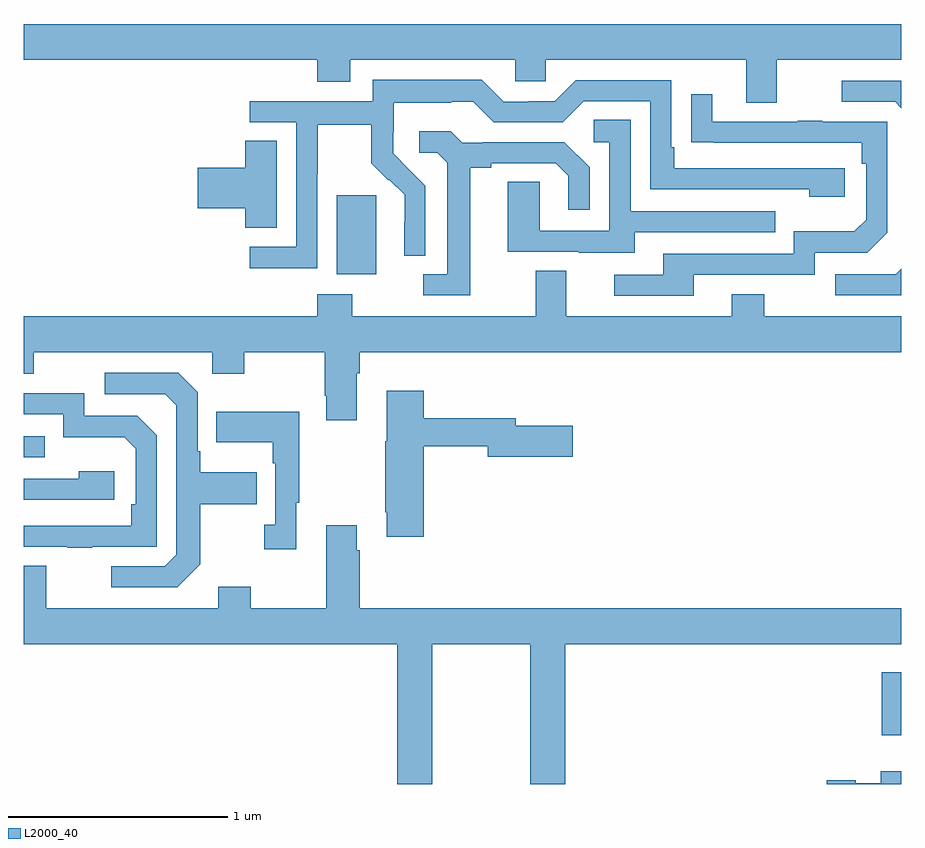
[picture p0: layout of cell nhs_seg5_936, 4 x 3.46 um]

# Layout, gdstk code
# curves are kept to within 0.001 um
import gdstk
lib = gdstk.Library(unit=1e-6, precision=1e-09)
def R(c, l, rs):  # rectangles x0, y0, x1, y1
    for r in rs: c.add(gdstk.rectangle(r[:2], r[2:], *l))
def P(c, l, *ps):  # polygons
    for p in ps: c.add(gdstk.Polygon(p, *l))
L2000_40 = (2000, 40)

nhs_seg5_936 = lib.new_cell('nhs_seg5_936')
R(nhs_seg5_936, L2000_40, [(174.911,847.022,175,847.309), (171,848.289,171.095,848.385), (172.427,849.122,172.606,849.483)])
P(nhs_seg5_936, L2000_40, [(174.433,850.1),(175,850.1),(175,850.264),(171,850.264),(171,850.1),(172.337,850.1),(172.337,850.001),(172.489,850.001),(172.489,850.1),(173.241,850.1),(173.241,850.002),(173.379,850.002),(173.379,850.1),(174.293,850.1),(174.293,849.906),(174.433,849.906)],
  [(172.338,849.58),(172.341,849.58),(172.341,849.804),(172.585,849.804),(172.585,849.629),(172.662,849.552),(172.665,849.555),(172.736,849.485),(172.736,849.362),(172.734,849.362),(172.734,849.208),(172.83,849.208),(172.83,849.526),(172.684,849.674),(172.684,849.771),(172.686,849.771),(172.686,849.905),(172.949,849.905),(172.949,849.909),(173.049,849.909),(173.142,849.816),(173.457,849.816),(173.553,849.912),(173.856,849.912),(173.856,849.51),(174.581,849.51),(174.581,849.476),(174.742,849.476),(174.742,849.606),(173.965,849.606),(173.965,849.703),(173.952,849.703),(173.952,850.008),(173.517,850.008),(173.421,849.912),(173.303,849.912),(173.303,849.909),(173.187,849.909),(173.087,850.009),(172.59,850.009),(172.59,849.912),(172.029,849.912),(172.029,849.816),(172.242,849.816),(172.242,849.249),(172.029,849.249),(172.029,849.151),(172.338,849.151)],
  [(175,850.005),(174.729,850.005),(174.729,849.909),(174.972,849.909),(175,849.881)],
  [(174.055,849.12),(174.606,849.12),(174.606,849.222),(174.846,849.222),(174.936,849.312),(174.936,849.819),(174.641,849.819),(174.641,849.824),(174.529,849.824),(174.529,849.819),(174.139,849.819),(174.139,849.943),(174.043,849.943),(174.043,849.724),(174.82,849.723),(174.82,849.626),(174.84,849.626),(174.84,849.372),(174.787,849.319),(174.51,849.319),(174.51,849.216),(173.915,849.216),(173.915,849.12),(173.691,849.12),(173.691,849.024),(174.055,849.024)],
  [(173.785,849.315),(174.425,849.315),(174.425,849.411),(173.766,849.411),(173.766,849.827),(173.598,849.827),(173.598,849.726),(173.67,849.726),(173.67,849.321),(173.352,849.321),(173.352,849.545),(173.207,849.545),(173.207,849.225),(173.531,849.225),(173.531,849.221),(173.785,849.221)],
  [(173.035,849.608),(173.131,849.608),(173.131,849.63),(173.426,849.63),(173.483,849.573),(173.483,849.417),(173.58,849.417),(173.58,849.61),(173.464,849.726),(173.092,849.726),(173.092,849.723),(172.998,849.723),(172.946,849.775),(172.803,849.775),(172.803,849.678),(172.884,849.678),(172.931,849.631),(172.931,849.123),(172.821,849.123),(172.821,849.027),(173.035,849.027)],
  [(172.153,849.731),(172.01,849.731),(172.01,849.608),(171.792,849.608),(171.792,849.425),(172.01,849.425),(172.01,849.334),(172.153,849.334)],
  [(175,849.148),(174.975,849.123),(174.699,849.123),(174.699,849.027),(175,849.027)],
  [(172.519,848.672),(172.532,848.672),(172.532,848.768),(175,848.768),(175,848.932),(174.375,848.932),(174.375,849.031),(174.227,849.031),(174.227,848.932),(173.473,848.932),(173.473,849.14),(173.333,849.14),(173.333,848.932),(172.497,848.932),(172.497,849.031),(172.337,849.031),(172.337,848.932),(171,848.932),(171,848.669),(171.045,848.669),(171.045,848.768),(171.858,848.768),(171.858,848.669),(172.005,848.669),(172.005,848.768),(172.372,848.768),(172.372,848.569),(172.379,848.569),(172.379,848.457),(172.519,848.457)],
  [(171.805,847.801),(171.805,848.074),(172.061,848.074),(172.061,848.221),(171.805,848.221),(171.805,848.317),(171.792,848.317),(171.792,848.586),(171.705,848.673),(171.369,848.673),(171.369,848.577),(171.645,848.577),(171.696,848.526),(171.696,847.845),(171.642,847.791),(171.399,847.791),(171.399,847.695),(171.699,847.695)],
  [(172.823,848.338),(173.114,848.338),(173.114,848.291),(173.503,848.291),(173.503,848.433),(173.242,848.433),(173.242,848.467),(172.823,848.467),(172.823,848.593),(172.655,848.593),(172.655,848.361),(172.648,848.361),(172.648,848.038),(172.655,848.038),(172.655,847.926),(172.823,847.926)],
  [(171.311,847.881),(171.606,847.881),(171.606,848.388),(171.516,848.478),(171.276,848.478),(171.276,848.58),(171,848.58),(171,848.484),(171.18,848.484),(171.18,848.381),(171.457,848.381),(171.51,848.328),(171.51,848.074),(171.49,848.074),(171.49,847.977),(171,847.977),(171,847.881),(171.199,847.881),(171.199,847.876),(171.311,847.876)],
  [(172.243,848.081),(172.255,848.081),(172.255,848.497),(171.877,848.497),(171.877,848.357),(172.134,848.357),(172.134,848.261),(172.146,848.261),(172.146,847.982),(172.095,847.982),(172.095,847.869),(172.243,847.869)],
  [(171.412,848.224),(171.251,848.224),(171.251,848.19),(171,848.19),(171,848.094),(171.412,848.094)],
  [(172.863,847.436),(173.308,847.436),(173.308,846.799),(173.468,846.799),(173.468,847.436),(175,847.436),(175,847.6),(172.532,847.6),(172.532,847.865),(172.519,847.865),(172.519,847.978),(172.379,847.978),(172.379,847.6),(172.035,847.6),(172.035,847.699),(171.887,847.699),(171.887,847.6),(171.103,847.6),(171.103,847.795),(171,847.795),(171,847.436),(172.703,847.436),(172.703,846.799),(172.863,846.799)],
  [(175,846.856),(174.908,846.856),(174.908,846.802),(174.792,846.802),(174.792,846.815),(174.66,846.815),(174.66,846.799),(175,846.799)])

lib.write_gds('nhs_seg5_936.gds')
